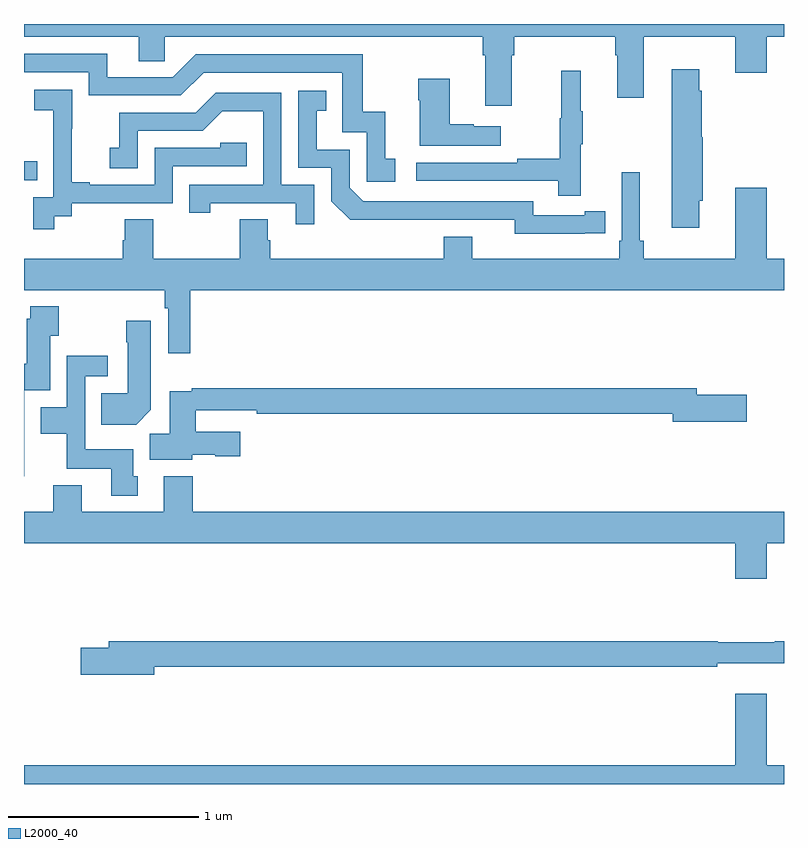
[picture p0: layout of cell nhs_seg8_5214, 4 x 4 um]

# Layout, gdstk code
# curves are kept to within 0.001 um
import gdstk
lib = gdstk.Library(unit=1e-6, precision=1e-09)
def R(c, l, rs):  # rectangles x0, y0, x1, y1
    for r in rs: c.add(gdstk.rectangle(r[:2], r[2:], *l))
def P(c, l, *ps):  # polygons
    for p in ps: c.add(gdstk.Polygon(p, *l))
L2000_40 = (2000, 40)

nhs_seg8_5214 = lib.new_cell('nhs_seg8_5214')
R(nhs_seg8_5214, L2000_40, [(425,1117.077,425.069,1117.178)])
P(nhs_seg8_5214, L2000_40, [(427.567,1117.736),(427.58,1117.736),(427.58,1117.832),(428.111,1117.832),(428.111,1117.736),(428.123,1117.736),(428.123,1117.512),(428.263,1117.512),(428.263,1117.832),(428.744,1117.832),(428.744,1117.644),(428.908,1117.644),(428.908,1117.832),(429,1117.832),(429,1117.9),(425,1117.9),(425,1117.832),(425.603,1117.832),(425.603,1117.705),(425.742,1117.705),(425.742,1117.832),(427.415,1117.832),(427.415,1117.736),(427.427,1117.736),(427.427,1117.47),(427.567,1117.47)],
  [(426.955,1117.191),(426.902,1117.191),(426.902,1117.438),(426.784,1117.438),(426.784,1117.74),(425.904,1117.74),(425.784,1117.62),(425.437,1117.62),(425.437,1117.743),(425,1117.743),(425,1117.647),(425.34,1117.647),(425.34,1117.524),(425.826,1117.524),(425.946,1117.644),(426.675,1117.644),(426.675,1117.329),(426.804,1117.329),(426.804,1117.071),(426.955,1117.071)],
  [(428.554,1116.969),(428.572,1116.969),(428.572,1117.305),(428.567,1117.305),(428.567,1117.55),(428.554,1117.55),(428.554,1117.663),(428.408,1117.663),(428.408,1116.828),(428.554,1116.828)],
  [(427.931,1117.267),(427.942,1117.267),(427.942,1117.441),(427.931,1117.441),(427.931,1117.654),(427.828,1117.654),(427.828,1117.404),(427.821,1117.404),(427.821,1117.19),(427.597,1117.19),(427.597,1117.17),(427.065,1117.17),(427.065,1117.074),(427.813,1117.074),(427.813,1116.996),(427.931,1116.996)],
  [(427.51,1117.363),(427.367,1117.363),(427.367,1117.373),(427.24,1117.373),(427.24,1117.612),(427.075,1117.612),(427.075,1117.499),(427.082,1117.499),(427.082,1117.259),(427.51,1117.259)],
  [(425.158,1116.889),(425.25,1116.889),(425.25,1116.957),(425.784,1116.957),(425.784,1117.152),(426.173,1117.152),(426.173,1117.275),(426.033,1117.275),(426.033,1117.248),(425.688,1117.248),(425.688,1117.053),(425.347,1117.053),(425.347,1117.066),(425.252,1117.066),(425.252,1117.349),(425.253,1117.349),(425.253,1117.555),(425.055,1117.555),(425.055,1117.445),(425.153,1117.445),(425.153,1117.217),(425.154,1117.217),(425.154,1116.987),(425.049,1116.987),(425.049,1116.819),(425.158,1116.819)],
  [(427.952,1116.798),(428.06,1116.798),(428.06,1116.914),(427.952,1116.914),(427.952,1116.894),(427.68,1116.894),(427.68,1116.966),(426.786,1116.966),(426.714,1117.038),(426.714,1117.239),(426.541,1117.239),(426.541,1117.443),(426.59,1117.443),(426.59,1117.549),(426.444,1117.549),(426.444,1117.143),(426.618,1117.143),(426.618,1116.966),(426.716,1116.869),(427.584,1116.87),(427.584,1116.797)],
  [(426.528,1117.053),(426.354,1117.053),(426.354,1117.539),(426.008,1117.539),(425.903,1117.434),(425.5,1117.434),(425.5,1117.249),(425.451,1117.249),(425.451,1117.14),(425.598,1117.14),(425.598,1117.338),(425.94,1117.338),(426.044,1117.442),(426.258,1117.442),(426.258,1117.053),(425.869,1117.053),(425.869,1116.906),(425.98,1116.906),(425.98,1116.957),(426.431,1116.957),(426.431,1116.846),(426.528,1116.846)],
  [(425.876,1116.5),(429,1116.5),(429,1116.664),(428.908,1116.664),(428.908,1117.039),(428.744,1117.039),(428.744,1116.664),(428.261,1116.664),(428.261,1116.76),(428.242,1116.76),(428.242,1117.12),(428.145,1117.12),(428.145,1116.76),(428.132,1116.76),(428.132,1116.664),(427.36,1116.664),(427.36,1116.781),(427.208,1116.781),(427.208,1116.664),(426.296,1116.664),(426.296,1116.762),(426.283,1116.762),(426.283,1116.872),(426.136,1116.872),(426.136,1116.664),(425.679,1116.664),(425.679,1116.872),(425.531,1116.872),(425.531,1116.762),(425.519,1116.762),(425.519,1116.664),(425,1116.664),(425,1116.5),(425.74,1116.5),(425.74,1116.404),(425.76,1116.404),(425.76,1116.168),(425.876,1116.168)],
  [(425.002,1115.972),(425.137,1115.972),(425.137,1116.259),(425.184,1116.259),(425.184,1116.415),(425.032,1116.415),(425.032,1116.348),(425.015,1116.348),(425.015,1116.111),(425,1116.111),(425,1115.52),(425.002,1115.52)],
  [(425.668,1115.87),(425.668,1116.337),(425.539,1116.337),(425.539,1116.224),(425.546,1116.224),(425.546,1115.956),(425.407,1115.956),(425.407,1115.792),(425.59,1115.792)],
  [(425.599,1115.52),(425.575,1115.52),(425.575,1115.662),(425.322,1115.662),(425.322,1116.045),(425.44,1116.045),(425.44,1116.154),(425.226,1116.154),(425.226,1115.884),(425.087,1115.884),(425.087,1115.744),(425.224,1115.744),(425.224,1115.558),(425.459,1115.558),(425.459,1115.418),(425.599,1115.418)],
  [(425.886,1115.633),(426.006,1115.633),(426.006,1115.626),(426.139,1115.626),(426.139,1115.755),(425.903,1115.755),(425.903,1115.868),(426.226,1115.868),(426.226,1115.848),(428.414,1115.848),(428.414,1115.806),(428.803,1115.806),(428.803,1115.948),(428.542,1115.948),(428.542,1115.984),(425.884,1115.984),(425.884,1115.966),(425.768,1115.966),(425.768,1115.744),(425.663,1115.744),(425.663,1115.606),(425.886,1115.606)],
  [(428.908,1115.168),(429,1115.168),(429,1115.332),(425.888,1115.332),(425.888,1115.521),(425.735,1115.521),(425.735,1115.332),(425.305,1115.332),(425.305,1115.473),(425.153,1115.473),(425.153,1115.332),(425,1115.332),(425,1115.168),(428.744,1115.168),(428.744,1114.98),(428.908,1114.98)],
  [(425.686,1114.516),(428.648,1114.516),(428.648,1114.535),(429,1114.535),(429,1114.652),(428.951,1114.652),(428.951,1114.645),(428.651,1114.645),(428.651,1114.652),(425.447,1114.652),(425.447,1114.616),(425.298,1114.616),(425.298,1114.474),(425.686,1114.474)],
  [(429,1114),(428.908,1114),(428.908,1114.375),(428.744,1114.375),(428.744,1114),(425,1114),(425,1113.9),(429,1113.9)])

lib.write_gds('nhs_seg8_5214.gds')
